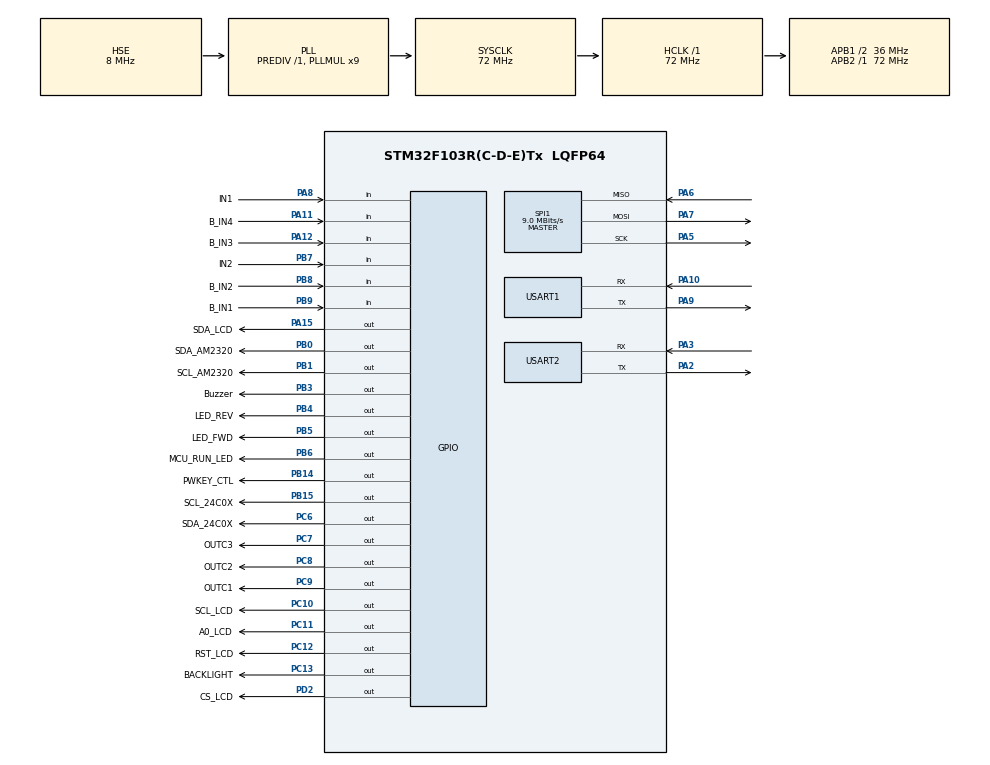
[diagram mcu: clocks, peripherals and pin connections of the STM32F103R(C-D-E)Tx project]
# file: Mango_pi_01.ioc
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Dma.Request0=USART2_TX
Dma.Request1=USART2_RX
Dma.USART2_RX.1.Direction=DMA_PERIPH_TO_MEMORY
Dma.USART2_RX.1.Instance=DMA1_Channel6
Dma.USART2_RX.1.MemDataAlignment=DMA_MDATAALIGN_BYTE
Dma.USART2_RX.1.MemInc=DMA_MINC_ENABLE
Dma.USART2_RX.1.Mode=DMA_NORMAL
Dma.USART2_RX.1.PeriphDataAlignment=DMA_PDATAALIGN_BYTE
Dma.USART2_RX.1.PeriphInc=DMA_PINC_DISABLE
Dma.USART2_RX.1.Priority=DMA_PRIORITY_VERY_HIGH
Dma.USART2_TX.0.Direction=DMA_MEMORY_TO_PERIPH
Dma.USART2_TX.0.Instance=DMA1_Channel7
Dma.USART2_TX.0.MemDataAlignment=DMA_MDATAALIGN_BYTE
Dma.USART2_TX.0.MemInc=DMA_MINC_ENABLE
Dma.USART2_TX.0.Mode=DMA_NORMAL
Dma.USART2_TX.0.PeriphDataAlignment=DMA_PDATAALIGN_BYTE
Dma.USART2_TX.0.PeriphInc=DMA_PINC_DISABLE
Dma.USART2_TX.0.Priority=DMA_PRIORITY_LOW
FREERTOS.INCLUDE_uxTaskGetStackHighWaterMark=1
FREERTOS.Tasks01=defaultTask,0,128,StartDefaultTask,Default,NULL
FREERTOS.configTOTAL_HEAP_SIZE=25600
FREERTOS.configUSE_TRACE_FACILITY=1
Mcu.Family=STM32F1
Mcu.Name=STM32F103R(C-D-E)Tx
Mcu.Package=LQFP64
NVIC.DMA1_Channel6_IRQn=true\:5\:0\:false\:false\:true\:true\:false
NVIC.DMA1_Channel7_IRQn=true\:5\:0\:false\:false\:true\:true\:false
NVIC.PriorityGroup=NVIC_PRIORITYGROUP_4
NVIC.SPI1_IRQn=true\:5\:0\:false\:false\:true\:true\:true
NVIC.TIM2_IRQn=true\:5\:0\:false\:false\:true\:true\:true
NVIC.USART1_IRQn=true\:5\:0\:false\:true\:true\:1\:true\:true
NVIC.USART2_IRQn=true\:5\:0\:false\:false\:true\:true\:true
PA10.Mode=Asynchronous
PA10.Signal=USART1_RX
PA11.GPIO_Label=B_IN4
PA11.GPIO_PuPd=GPIO_PULLUP
PA11.Signal=GPIO_Input
PA12.GPIO_Label=B_IN3
PA12.GPIO_PuPd=GPIO_PULLUP
PA12.Signal=GPIO_Input
PA13.Mode=Serial_Wire
PA13.Signal=SYS_JTMS-SWDIO
PA14.Mode=Serial_Wire
PA14.Signal=SYS_JTCK-SWCLK
PA15.GPIO_Label=SDA_LCD
PA15.GPIO_PuPd=GPIO_PULLUP
PA15.GPIO_Speed=GPIO_SPEED_FREQ_HIGH
PA15.PinState=GPIO_PIN_SET
PA15.Signal=GPIO_Output
PA2.Mode=Asynchronous
PA2.Signal=USART2_TX
PA3.Mode=Asynchronous
PA3.Signal=USART2_RX
PA5.Mode=Full_Duplex_Master
PA5.Signal=SPI1_SCK
PA6.Mode=Full_Duplex_Master
PA6.Signal=SPI1_MISO
PA7.Mode=Full_Duplex_Master
PA7.Signal=SPI1_MOSI
PA8.GPIO_Label=IN1
PA8.GPIO_PuPd=GPIO_PULLUP
PA8.Signal=GPIO_Input
PA9.Mode=Asynchronous
PA9.Signal=USART1_TX
PB0.GPIO_Label=SDA_AM2320
PB0.GPIO_PuPd=GPIO_PULLUP
PB0.GPIO_Speed=GPIO_SPEED_FREQ_HIGH
PB0.PinState=GPIO_PIN_SET
PB0.Signal=GPIO_Output
PB1.GPIO_Label=SCL_AM2320
PB1.GPIO_PuPd=GPIO_PULLUP
PB1.GPIO_Speed=GPIO_SPEED_FREQ_HIGH
PB1.PinState=GPIO_PIN_SET
PB1.Signal=GPIO_Output
PB14.GPIO_Label=PWKEY_CTL
PB14.GPIO_PuPd=GPIO_PULLUP
PB14.PinState=GPIO_PIN_RESET
PB14.Signal=GPIO_Output
PB15.GPIO_Label=SCL_24C0X
PB15.GPIO_PuPd=GPIO_PULLUP
PB15.GPIO_Speed=GPIO_SPEED_FREQ_HIGH
PB15.PinState=GPIO_PIN_SET
PB15.Signal=GPIO_Output
PB3.GPIO_Label=Buzzer
PB3.GPIO_PuPd=GPIO_PULLUP
PB3.PinState=GPIO_PIN_RESET
PB3.Signal=GPIO_Output
PB4.GPIO_Label=LED_REV
PB4.GPIO_PuPd=GPIO_PULLUP
PB4.PinState=GPIO_PIN_SET
PB4.Signal=GPIO_Output
PB5.GPIO_Label=LED_FWD
PB5.GPIO_PuPd=GPIO_PULLUP
PB5.PinState=GPIO_PIN_SET
PB5.Signal=GPIO_Output
PB6.GPIO_Label=MCU_RUN_LED
PB6.GPIO_PuPd=GPIO_PULLUP
PB6.PinState=GPIO_PIN_SET
PB6.Signal=GPIO_Output
PB7.GPIO_Label=IN2
PB7.GPIO_PuPd=GPIO_PULLUP
PB7.Signal=GPIO_Input
PB8.GPIO_Label=B_IN2
PB8.GPIO_PuPd=GPIO_PULLUP
PB8.Signal=GPIO_Input
PB9.GPIO_Label=B_IN1
PB9.GPIO_PuPd=GPIO_PULLUP
PB9.Signal=GPIO_Input
PC10.GPIO_Label=SCL_LCD
PC10.GPIO_PuPd=GPIO_PULLUP
PC10.GPIO_Speed=GPIO_SPEED_FREQ_HIGH
PC10.PinState=GPIO_PIN_SET
PC10.Signal=GPIO_Output
PC11.GPIO_Label=A0_LCD
PC11.GPIO_PuPd=GPIO_PULLUP
PC11.GPIO_Speed=GPIO_SPEED_FREQ_HIGH
PC11.PinState=GPIO_PIN_SET
PC11.Signal=GPIO_Output
PC12.GPIO_Label=RST_LCD
PC12.GPIO_PuPd=GPIO_PULLUP
PC12.GPIO_Speed=GPIO_SPEED_FREQ_HIGH
PC12.PinState=GPIO_PIN_SET
PC12.Signal=GPIO_Output
PC13-TAMPER-RTC.GPIO_Label=BACKLIGHT
PC13-TAMPER-RTC.GPIO_PuPd=GPIO_PULLUP
PC13-TAMPER-RTC.PinState=GPIO_PIN_SET
PC13-TAMPER-RTC.Signal=GPIO_Output
PC14-OSC32_IN.Mode=LSE-External-Oscillator
PC14-OSC32_IN.Signal=RCC_OSC32_IN
PC15-OSC32_OUT.Mode=LSE-External-Oscillator
PC15-OSC32_OUT.Signal=RCC_OSC32_OUT
PC6.GPIO_Label=SDA_24C0X
PC6.GPIO_PuPd=GPIO_PULLUP
PC6.GPIO_Speed=GPIO_SPEED_FREQ_HIGH
PC6.PinState=GPIO_PIN_SET
PC6.Signal=GPIO_Output
PC7.GPIO_Label=OUTC3
PC7.GPIO_PuPd=GPIO_PULLUP
PC7.PinState=GPIO_PIN_SET
PC7.Signal=GPIO_Output
PC8.GPIO_Label=OUTC2
PC8.GPIO_PuPd=GPIO_PULLUP
PC8.PinState=GPIO_PIN_SET
PC8.Signal=GPIO_Output
PC9.GPIO_Label=OUTC1
PC9.GPIO_PuPd=GPIO_PULLUP
PC9.PinState=GPIO_PIN_SET
PC9.Signal=GPIO_Output
PD0-OSC_IN.Mode=HSE-External-Oscillator
PD0-OSC_IN.Signal=RCC_OSC_IN
PD1-OSC_OUT.Mode=HSE-External-Oscillator
PD1-OSC_OUT.Signal=RCC_OSC_OUT
PD2.GPIO_Label=CS_LCD
PD2.GPIO_PuPd=GPIO_PULLUP
PD2.GPIO_Speed=GPIO_SPEED_FREQ_HIGH
PD2.PinState=GPIO_PIN_SET
PD2.Signal=GPIO_Output
ProjectManager.HeapSize=0xE00
ProjectManager.StackSize=0x400
ProjectManager.TargetToolchain=MDK-ARM V5
RCC.AHBFreq_Value=72000000
RCC.APB1CLKDivider=RCC_HCLK_DIV2
RCC.APB1Freq_Value=36000000
RCC.APB1TimFreq_Value=72000000
RCC.APB2Freq_Value=72000000
RCC.APB2TimFreq_Value=72000000
RCC.HCLKFreq_Value=72000000
RCC.PLLMUL=RCC_PLL_MUL9
RCC.PLLSourceVirtual=RCC_PLLSOURCE_HSE
RCC.RTCClockSelection=RCC_RTCCLKSOURCE_LSE
RCC.SYSCLKFreq_VALUE=72000000
RCC.SYSCLKSource=RCC_SYSCLKSOURCE_PLLCLK
RCC.USBFreq_Value=72000000
RTC.AutoPrediv=RTC_AUTO_1_SECOND
RTC.Format=RTC_FORMAT_BIN
SPI1.BaudRatePrescaler=SPI_BAUDRATEPRESCALER_8
SPI1.CLKPolarity=SPI_POLARITY_LOW
SPI1.CRCCalculation=SPI_CRCCALCULATION_DISABLE
SPI1.CalculateBaudRate=9.0 MBits/s
SPI1.Direction=SPI_DIRECTION_2LINES
SPI1.Mode=SPI_MODE_MASTER
SPI1.VirtualType=VM_MASTER
TIM2.AutoReloadPreload=TIM_AUTORELOAD_PRELOAD_ENABLE
TIM2.Period=199
TIM2.Prescaler=35999
USART1.VirtualMode=VM_ASYNC
USART2.VirtualMode=VM_ASYNC
VP_FREERTOS_VS_ENABLE.Mode=Enabled
VP_RTC_No_RTC_Output.Mode=RTC_OUT_NO
VP_RTC_VS_RTC_Activate.Mode=RTC_Enabled
VP_TIM2_VS_ClockSourceINT.Mode=Internal
VP_TIM2_VS_OPM.Mode=OPM_bit
board=custom

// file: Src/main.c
/**
  ******************************************************************************
  * @file           : main.c
  * @brief          : Main program body
  ******************************************************************************
  * This notice applies to any and all portions of this file
  * that are not between comment pairs USER CODE BEGIN and
  * USER CODE END. Other portions of this file, whether
  * inserted by the user or by software development tools
  * are owned by their respective copyright owners.
  *
  * Copyright (c) 2019 STMicroelectronics International N.V.
  * All rights reserved.
  *
  * Redistribution and use in source and binary forms, with or without
  * modification, are permitted, provided that the following conditions are met:
  *
  * 1. Redistribution of source code must retain the above copyright notice,
  *    this list of conditions and the following disclaimer.
  * 2. Redistributions in binary form must reproduce the above copyright notice,
  *    this list of conditions and the following disclaimer in the documentation
  *    and/or other materials provided with the distribution.
  * 3. Neither the name of STMicroelectronics nor the names of other
  *    contributors to this software may be used to endorse or promote products
  *    derived from this software without specific written permission.
  * 4. This software, including modifications and/or derivative works of this
  *    software, must execute solely and exclusively on microcontroller or
  *    microprocessor devices manufactured by or for STMicroelectronics.
  * 5. Redistribution and use of this software other than as permitted under
  *    this license is void and will automatically terminate your rights under
  *    this license.
  *
  * THIS SOFTWARE IS PROVIDED BY STMICROELECTRONICS AND CONTRIBUTORS "AS IS"
  * AND ANY EXPRESS, IMPLIED OR STATUTORY WARRANTIES, INCLUDING, BUT NOT
  * LIMITED TO, THE IMPLIED WARRANTIES OF MERCHANTABILITY, FITNESS FOR A
  * PARTICULAR PURPOSE AND NON-INFRINGEMENT OF THIRD PARTY INTELLECTUAL PROPERTY
  * RIGHTS ARE DISCLAIMED TO THE FULLEST EXTENT PERMITTED BY LAW. IN NO EVENT
  * SHALL STMICROELECTRONICS OR CONTRIBUTORS BE LIABLE FOR ANY DIRECT, INDIRECT,
  * INCIDENTAL, SPECIAL, EXEMPLARY, OR CONSEQUENTIAL DAMAGES (INCLUDING, BUT NOT
  * LIMITED TO, PROCUREMENT OF SUBSTITUTE GOODS OR SERVICES; LOSS OF USE, DATA,
  * OR PROFITS; OR BUSINESS INTERRUPTION) HOWEVER CAUSED AND ON ANY THEORY OF
  * LIABILITY, WHETHER IN CONTRACT, STRICT LIABILITY, OR TORT (INCLUDING
  * NEGLIGENCE OR OTHERWISE) ARISING IN ANY WAY OUT OF THE USE OF THIS SOFTWARE,
  * EVEN IF ADVISED OF THE POSSIBILITY OF SUCH DAMAGE.
  *
  ******************************************************************************
  */
#include "main.h"
#include "stm32f1xx_hal.h"
#include "cmsis_os.h"

/* USER CODE BEGIN Includes */
#include "LED.h"
#include "button.h"
#include "BUZZER.h"
#include "LCD12864.h"
#include "Strategy.h"
#include <string.h>
#include "Check_Stroking_Cycle.h"
#include "HUMI.h"
#include "24c0x.h"
#include "relay.h"

/* USER CODE END Includes */

RTC_HandleTypeDef hrtc;

SPI_HandleTypeDef hspi1;

TIM_HandleTypeDef htim2;

UART_HandleTypeDef huart1;
UART_HandleTypeDef huart2;
DMA_HandleTypeDef hdma_usart2_tx;
DMA_HandleTypeDef hdma_usart2_rx;

osThreadId defaultTaskHandle;

/* USER CODE BEGIN PV */
/* Private variables ---------------------------------------------------------*/

#ifdef __GNUC__
/* With GCC, small printf (option LD Linker->Libraries->Small printf
   set to 'Yes') calls __io_putchar() */
#define PUTCHAR_PROTOTYPE int __io_putchar(int ch)
#else
#define PUTCHAR_PROTOTYPE int fputc(int ch, FILE *f)
#endif /* __GNUC__ */
osThreadId Start_LED_TaskHandle;		//LED任务句柄
osThreadId Start_HUMI_TaskHandle;		//温度任务句柄
osThreadId Start_RTC_TaskHandle;		//实时时钟任务句柄
osThreadId Start_Delete_TaskHandle;		//删除任务句柄
osThreadId Start_Strategy_TaskHandle;
osThreadId Start_LCD12864_TaskHandle;	//12864句柄
osThreadId Start_BUTTON_TaskHandle;		//扫描按键任务句柄
Delete_Task_struct G_Delete_Task_struct;//删除任务的结构体
SemaphoreHandle_t uart2_Idle_xSemaphore;
SemaphoreHandle_t recv_gprs_cmd_xSemaphore;//二值信号量
SemaphoreHandle_t send_gprs_dat_xSemaphore;//二值信号量
SemaphoreHandle_t xSemaphore;
extern uint8_t a2RxBuffer;			//接收中断缓冲
extern uint8_t aRxBuffer;			//接收中断缓冲
#ifdef SIM800C_VERSION
osThreadId Start_SIM800C_TaskHandle;	//800c句柄
#elif ESP8266_VERSION
osThreadId Start_ESP8266_TaskHandle;	//8266句柄
#endif
//硬件版本信息结构体

/* USER CODE END PV */

void SystemClock_Config(void);
static void MX_GPIO_Init(void);
static void MX_DMA_Init(void);
static void MX_SPI1_Init(void);
static void MX_USART2_UART_Init(void);
static void MX_RTC_Init(void);
static void MX_USART1_UART_Init(void);
static void MX_TIM2_Init(void);
void StartDefaultTask(void const * argument);
static void MX_NVIC_Init(void);

/* USER CODE BEGIN PFP */
/* Private function prototypes -----------------------------------------------*/

/* USER CODE END PFP */

int main(void)
{

  /* MCU Configuration----------------------------------------------------------*/

  /* Reset of all peripherals, Initializes the Flash interface and the Systick. */
  HAL_Init();

  /* Configure the system clock */
  SystemClock_Config();

  /* Initialize all configured peripherals */
  MX_GPIO_Init();
  MX_DMA_Init();
  MX_SPI1_Init();
  MX_USART2_UART_Init();
  MX_RTC_Init();
  MX_USART1_UART_Init();
  MX_TIM2_Init();

  /* Initialize interrupts */
  MX_NVIC_Init();
  /* USER CODE BEGIN 2 */
	HAL_UART_Receive_IT(&huart1, (uint8_t *)&aRxBuffer, 1);   //再开启接收中断
//	HAL_UART_Receive_IT(&huart2, (uint8_t *)&a2RxBuffer, 1);   //再开启接收中断
	__HAL_UART_ENABLE_IT(&huart2, UART_IT_IDLE);
  /* USER CODE END 2 */

  /* USER CODE BEGIN RTOS_SEMAPHORES */
  /* add semaphores, ... */
	xSemaphore = xSemaphoreCreateBinary();
	if( xSemaphore == NULL )
	{
		printf("xSemaphore = NULL\r\n");
	}
	else
	{
	//	printf("xSemaphore = success\r\n");
	}
	uart2_Idle_xSemaphore = xSemaphoreCreateBinary(); //接收数据使用的信号量
	if( uart2_Idle_xSemaphore == NULL )
	{
		printf("uart2_Idle_xSemaphore = NULL\r\n");
	}
	else
	{
	//	printf("xSemaphore = success\r\n");
	}
	recv_gprs_cmd_xSemaphore = xSemaphoreCreateBinary();
	if(recv_gprs_cmd_xSemaphore == NULL)
	{
		printf("recv_gprs_cmd_xSemaphore = NULL\r\n");
	}else{

	}

	send_gprs_dat_xSemaphore = xSemaphoreCreateBinary();
	if(send_gprs_dat_xSemaphore == NULL)
	{
		printf("send_gprs_dat_xSemaphore = NULL\r\n");
	}else{

	}
  /* USER CODE END RTOS_SEMAPHORES */

  /* Create the thread(s) */
  /* definition and creation of defaultTask */
  osThreadDef(defaultTask, StartDefaultTask, osPriorityNormal, 0, 128);
  defaultTaskHandle = osThreadCreate(osThread(defaultTask), NULL);

  /* Start scheduler */
  osKernelStart();

  /* We should never get here as control is now taken by the scheduler */

  /* Infinite loop */
  while (1)
  {

  }

}

void SystemClock_Config(void)
{

  RCC_OscInitTypeDef RCC_OscInitStruct;
  RCC_ClkInitTypeDef RCC_ClkInitStruct;
  RCC_PeriphCLKInitTypeDef PeriphClkInit;

    /**Initializes the CPU, AHB and APB busses clocks
    */
  RCC_OscInitStruct.OscillatorType = RCC_OSCILLATORTYPE_HSE|RCC_OSCILLATORTYPE_LSE;
  RCC_OscInitStruct.HSEState = RCC_HSE_ON;
  RCC_OscInitStruct.HSEPredivValue = RCC_HSE_PREDIV_DIV1;
  RCC_OscInitStruct.LSEState = RCC_LSE_ON;
  RCC_OscInitStruct.HSIState = RCC_HSI_ON;
  RCC_OscInitStruct.PLL.PLLState = RCC_PLL_ON;
  RCC_OscInitStruct.PLL.PLLSource = RCC_PLLSOURCE_HSE;
  RCC_OscInitStruct.PLL.PLLMUL = RCC_PLL_MUL9;
  if (HAL_RCC_OscConfig(&RCC_OscInitStruct) != HAL_OK)
  {
    _Error_Handler(__FILE__, __LINE__);
  }

    /**Initializes the CPU, AHB and APB busses clocks
    */
  RCC_ClkInitStruct.ClockType = RCC_CLOCKTYPE_HCLK|RCC_CLOCKTYPE_SYSCLK
                              |RCC_CLOCKTYPE_PCLK1|RCC_CLOCKTYPE_PCLK2;
  RCC_ClkInitStruct.SYSCLKSource = RCC_SYSCLKSOURCE_PLLCLK;
  RCC_ClkInitStruct.AHBCLKDivider = RCC_SYSCLK_DIV1;
  RCC_ClkInitStruct.APB1CLKDivider = RCC_HCLK_DIV2;
  RCC_ClkInitStruct.APB2CLKDivider = RCC_HCLK_DIV1;

  if (HAL_RCC_ClockConfig(&RCC_ClkInitStruct, FLASH_LATENCY_2) != HAL_OK)
  {
    _Error_Handler(__FILE__, __LINE__);
  }

  PeriphClkInit.PeriphClockSelection = RCC_PERIPHCLK_RTC;
  PeriphClkInit.RTCClockSelection = RCC_RTCCLKSOURCE_LSE;
  if (HAL_RCCEx_PeriphCLKConfig(&PeriphClkInit) != HAL_OK)
  {
    _Error_Handler(__FILE__, __LINE__);
  }

    /**Configure the Systick interrupt time
    */
  HAL_SYSTICK_Config(HAL_RCC_GetHCLKFreq()/1000);

    /**Configure the Systick
    */
  HAL_SYSTICK_CLKSourceConfig(SYSTICK_CLKSOURCE_HCLK);

  /* SysTick_IRQn interrupt configuration */
  HAL_NVIC_SetPriority(SysTick_IRQn, 15, 0);
}

/**
  * @brief NVIC Configuration.
  * @retval None
  */
static void MX_NVIC_Init(void)
{
  /* USART1_IRQn interrupt configuration */
  HAL_NVIC_SetPriority(USART1_IRQn, 5, 0);
  HAL_NVIC_EnableIRQ(USART1_IRQn);
}

/* RTC init function */
static void MX_RTC_Init(void)
{

  RTC_TimeTypeDef sTime;
  RTC_DateTypeDef DateToUpdate;

    /**Initialize RTC Only
    */
  hrtc.Instance = RTC;
  hrtc.Init.AsynchPrediv = RTC_AUTO_1_SECOND;
  hrtc.Init.OutPut = RTC_OUTPUTSOURCE_NONE;
  if (HAL_RTC_Init(&hrtc) != HAL_OK)
  {
    _Error_Handler(__FILE__, __LINE__);
  }

    /**Initialize RTC and set the Time and Date
    */
  sTime.Hours = 0;
  sTime.Minutes = 0;
  sTime.Seconds = 0;

  if (HAL_RTC_SetTime(&hrtc, &sTime, RTC_FORMAT_BIN) != HAL_OK)
  {
    _Error_Handler(__FILE__, __LINE__);
  }

  DateToUpdate.WeekDay = RTC_WEEKDAY_MONDAY;
  DateToUpdate.Month = RTC_MONTH_JANUARY;
  DateToUpdate.Date = 1;
  DateToUpdate.Year = 0;

  if (HAL_RTC_SetDate(&hrtc, &DateToUpdate, RTC_FORMAT_BIN) != HAL_OK)
  {
    _Error_Handler(__FILE__, __LINE__);
  }

}

/* SPI1 init function */
static void MX_SPI1_Init(void)
{

  /* SPI1 parameter configuration*/
  hspi1.Instance = SPI1;
  hspi1.Init.Mode = SPI_MODE_MASTER;
  hspi1.Init.Direction = SPI_DIRECTION_2LINES;
  hspi1.Init.DataSize = SPI_DATASIZE_8BIT;
  hspi1.Init.CLKPolarity = SPI_POLARITY_LOW;
  hspi1.Init.CLKPhase = SPI_PHASE_1EDGE;
  hspi1.Init.NSS = SPI_NSS_SOFT;
  hspi1.Init.BaudRatePrescaler = SPI_BAUDRATEPRESCALER_8;
  hspi1.Init.FirstBit = SPI_FIRSTBIT_MSB;
  hspi1.Init.TIMode = SPI_TIMODE_DISABLE;
  hspi1.Init.CRCCalculation = SPI_CRCCALCULATION_DISABLE;
  hspi1.Init.CRCPolynomial = 10;
  if (HAL_SPI_Init(&hspi1) != HAL_OK)
  {
    _Error_Handler(__FILE__, __LINE__);
  }

}

/* TIM2 init function */
static void MX_TIM2_Init(void)
{

  TIM_ClockConfigTypeDef sClockSourceConfig;
  TIM_MasterConfigTypeDef sMasterConfig;

  htim2.Instance = TIM2;
  htim2.Init.Prescaler = 35999;
  htim2.Init.CounterMode = TIM_COUNTERMODE_UP;
  htim2.Init.Period = 199;
  htim2.Init.ClockDivision = TIM_CLOCKDIVISION_DIV1;
  htim2.Init.AutoReloadPreload = TIM_AUTORELOAD_PRELOAD_ENABLE;
  if (HAL_TIM_Base_Init(&htim2) != HAL_OK)
  {
    _Error_Handler(__FILE__, __LINE__);
  }

  sClockSourceConfig.ClockSource = TIM_CLOCKSOURCE_INTERNAL;
  if (HAL_TIM_ConfigClockSource(&htim2, &sClockSourceConfig) != HAL_OK)
  {
    _Error_Handler(__FILE__, __LINE__);
  }

  if (HAL_TIM_OnePulse_Init(&htim2, TIM_OPMODE_SINGLE) != HAL_OK)
  {
    _Error_Handler(__FILE__, __LINE__);
  }

  sMasterConfig.MasterOutputTrigger = TIM_TRGO_RESET;
  sMasterConfig.MasterSlaveMode = TIM_MASTERSLAVEMODE_DISABLE;
  if (HAL_TIMEx_MasterConfigSynchronization(&htim2, &sMasterConfig) != HAL_OK)
  {
    _Error_Handler(__FILE__, __LINE__);
  }

}

/* USART1 init function */
static void MX_USART1_UART_Init(void)
{

  huart1.Instance = USART1;
  huart1.Init.BaudRate = 115200;
  huart1.Init.WordLength = UART_WORDLENGTH_8B;
  huart1.Init.StopBits = UART_STOPBITS_1;
  huart1.Init.Parity = UART_PARITY_NONE;
  huart1.Init.Mode = UART_MODE_TX_RX;
  huart1.Init.HwFlowCtl = UART_HWCONTROL_NONE;
  huart1.Init.OverSampling = UART_OVERSAMPLING_16;
  if (HAL_UART_Init(&huart1) != HAL_OK)
  {
    _Error_Handler(__FILE__, __LINE__);
  }

}

/* USART2 init function */
static void MX_USART2_UART_Init(void)
{

  huart2.Instance = USART2;
  huart2.Init.BaudRate = 115200;
  huart2.Init.WordLength = UART_WORDLENGTH_8B;
  huart2.Init.StopBits = UART_STOPBITS_1;
  huart2.Init.Parity = UART_PARITY_NONE;
  huart2.Init.Mode = UART_MODE_TX_RX;
  huart2.Init.HwFlowCtl = UART_HWCONTROL_NONE;
  huart2.Init.OverSampling = UART_OVERSAMPLING_16;
  if (HAL_UART_Init(&huart2) != HAL_OK)
  {
    _Error_Handler(__FILE__, __LINE__);
  }

}

static void MX_DMA_Init(void)
{
  /* DMA controller clock enable */
  __HAL_RCC_DMA1_CLK_ENABLE();

  /* DMA interrupt init */
  /* DMA1_Channel6_IRQn interrupt configuration */
  HAL_NVIC_SetPriority(DMA1_Channel6_IRQn, 5, 0);
  HAL_NVIC_EnableIRQ(DMA1_Channel6_IRQn);
  /* DMA1_Channel7_IRQn interrupt configuration */
  HAL_NVIC_SetPriority(DMA1_Channel7_IRQn, 5, 0);
  HAL_NVIC_EnableIRQ(DMA1_Channel7_IRQn);

}

/** Configure pins as
        * Analog
        * Input
        * Output
        * EVENT_OUT
        * EXTI
*/
static void MX_GPIO_Init(void)
{

  GPIO_InitTypeDef GPIO_InitStruct;

  /* GPIO Ports Clock Enable */
  __HAL_RCC_GPIOC_CLK_ENABLE();
  __HAL_RCC_GPIOD_CLK_ENABLE();
  __HAL_RCC_GPIOA_CLK_ENABLE();
  __HAL_RCC_GPIOB_CLK_ENABLE();

  /*Configure GPIO pin Output Level */
  HAL_GPIO_WritePin(GPIOC, BACKLIGHT_Pin|SDA_24C0X_Pin|OUTC3_Pin|OUTC2_Pin
                          |OUTC1_Pin|SCL_LCD_Pin|A0_LCD_Pin|RST_LCD_Pin, GPIO_PIN_SET);

  /*Configure GPIO pin Output Level */
  HAL_GPIO_WritePin(GPIOB, SDA_AM2320_Pin|SCL_AM2320_Pin|SCL_24C0X_Pin|LED_REV_Pin
                          |LED_FWD_Pin|MCU_RUN_LED_Pin, GPIO_PIN_SET);

  /*Configure GPIO pin Output Level */
  HAL_GPIO_WritePin(GPIOB, PWKEY_CTL_Pin|Buzzer_Pin, GPIO_PIN_RESET);

  /*Configure GPIO pin Output Level */
  HAL_GPIO_WritePin(SDA_LCD_GPIO_Port, SDA_LCD_Pin, GPIO_PIN_SET);

  /*Configure GPIO pin Output Level */
  HAL_GPIO_WritePin(CS_LCD_GPIO_Port, CS_LCD_Pin, GPIO_PIN_SET);

  /*Configure GPIO pins : BACKLIGHT_Pin OUTC3_Pin OUTC2_Pin OUTC1_Pin */
  GPIO_InitStruct.Pin = BACKLIGHT_Pin|OUTC3_Pin|OUTC2_Pin|OUTC1_Pin;
  GPIO_InitStruct.Mode = GPIO_MODE_OUTPUT_PP;
  GPIO_InitStruct.Pull = GPIO_PULLUP;
  GPIO_InitStruct.Speed = GPIO_SPEED_FREQ_LOW;
  HAL_GPIO_Init(GPIOC, &GPIO_InitStruct);

  /*Configure GPIO pins : SDA_AM2320_Pin SCL_AM2320_Pin SCL_24C0X_Pin */
  GPIO_InitStruct.Pin = SDA_AM2320_Pin|SCL_AM2320_Pin|SCL_24C0X_Pin;
  GPIO_InitStruct.Mode = GPIO_MODE_OUTPUT_PP;
  GPIO_InitStruct.Pull = GPIO_PULLUP;
  GPIO_InitStruct.Speed = GPIO_SPEED_FREQ_HIGH;
  HAL_GPIO_Init(GPIOB, &GPIO_InitStruct);

  /*Configure GPIO pins : PWKEY_CTL_Pin Buzzer_Pin LED_REV_Pin LED_FWD_Pin
                           MCU_RUN_LED_Pin */
  GPIO_InitStruct.Pin = PWKEY_CTL_Pin|Buzzer_Pin|LED_REV_Pin|LED_FWD_Pin
                          |MCU_RUN_LED_Pin;
  GPIO_InitStruct.Mode = GPIO_MODE_OUTPUT_PP;
  GPIO_InitStruct.Pull = GPIO_PULLUP;
  GPIO_InitStruct.Speed = GPIO_SPEED_FREQ_LOW;
  HAL_GPIO_Init(GPIOB, &GPIO_InitStruct);

  /*Configure GPIO pins : SDA_24C0X_Pin SCL_LCD_Pin A0_LCD_Pin RST_LCD_Pin */
  GPIO_InitStruct.Pin = SDA_24C0X_Pin|SCL_LCD_Pin|A0_LCD_Pin|RST_LCD_Pin;
  GPIO_InitStruct.Mode = GPIO_MODE_OUTPUT_PP;
  GPIO_InitStruct.Pull = GPIO_PULLUP;
  GPIO_InitStruct.Speed = GPIO_SPEED_FREQ_HIGH;
  HAL_GPIO_Init(GPIOC, &GPIO_InitStruct);

  /*Configure GPIO pins : IN1_Pin B_IN4_Pin B_IN3_Pin */
  GPIO_InitStruct.Pin = IN1_Pin|B_IN4_Pin|B_IN3_Pin;
  GPIO_InitStruct.Mode = GPIO_MODE_INPUT;
  GPIO_InitStruct.Pull = GPIO_PULLUP;
  HAL_GPIO_Init(GPIOA, &GPIO_InitStruct);

  /*Configure GPIO pin : SDA_LCD_Pin */
  GPIO_InitStruct.Pin = SDA_LCD_Pin;
  GPIO_InitStruct.Mode = GPIO_MODE_OUTPUT_PP;
  GPIO_InitStruct.Pull = GPIO_PULLUP;
  GPIO_InitStruct.Speed = GPIO_SPEED_FREQ_HIGH;
  HAL_GPIO_Init(SDA_LCD_GPIO_Port, &GPIO_InitStruct);

  /*Configure GPIO pin : CS_LCD_Pin */
  GPIO_InitStruct.Pin = CS_LCD_Pin;
  GPIO_InitStruct.Mode = GPIO_MODE_OUTPUT_PP;
  GPIO_InitStruct.Pull = GPIO_PULLUP;
  GPIO_InitStruct.Speed = GPIO_SPEED_FREQ_HIGH;
  HAL_GPIO_Init(CS_LCD_GPIO_Port, &GPIO_InitStruct);

  /*Configure GPIO pins : IN2_Pin B_IN2_Pin B_IN1_Pin */
  GPIO_InitStruct.Pin = IN2_Pin|B_IN2_Pin|B_IN1_Pin;
  GPIO_InitStruct.Mode = GPIO_MODE_INPUT;
  GPIO_InitStruct.Pull = GPIO_PULLUP;
  HAL_GPIO_Init(GPIOB, &GPIO_InitStruct);

}

/* USER CODE BEGIN 4 */
PUTCHAR_PROTOTYPE
{
	uint8_t c = ch;
	taskENTER_CRITICAL();			//进入临界区
	HAL_UART_Transmit(&huart1, &c, 1, 0xff);
	taskEXIT_CRITICAL();//退出临界区
	//HAL_UART_Transmit_DMA(&huart1, &c, 1);
	return 0;
}

/*
 * 检查内部策略信息
 */
void Check_Strategy(void)
{
	uint8_t i;
	Strategy_struct pBuffer[8];
	//Init_Strategy(0);//不等于规则我需要的需要重写从0开始写
	for(i = 0;i < 8;i++)
	{
		AT24CXX_Read(i*STRATEGY_ADDR,((uint8_t*)pBuffer)+(sizeof(pBuffer[i])*i),sizeof(pBuffer[i]));
		//printf("pBuffer[%d].Strategy_Num = %d\r\n",i+1,pBuffer[i].Strategy_Num);
		if(pBuffer[i].Strategy_Num != (i+1)){
			Init_Strategy(0);//不等于规则我需要的需要重写 从0开始写
			return;
		}
	}
	for(i = 0;i < 8;i++)
	{
		AT24CXX_Read(i*STRATEGY_ADDR,((uint8_t*)G_Strategy)+(sizeof(G_Strategy[i])*i),sizeof(G_Strategy[i]));
//		printf("[%d]Hours=%d\r\n",i,G_Strategy[i].Time.Hours);
//		printf("[%d]Minutes=%d\r\n",i,G_Strategy[i].Time.Minutes);
	}
	//printf("sizeof(S_Strategy) = %d,sizeof(S_Strategy[0]) = %d\r\n",sizeof(S_Strategy),sizeof(S_Strategy[0]));
	memcpy((uint8_t*)S_Strategy,(uint8_t*)G_Strategy,sizeof(S_Strategy));
	return;
}

/*
 * 删除任务的任务
 * 这里很奇葩，空闲任务已经执行貌似没有启动，任务删除自己后来不能回收资源，所以先使用任务甲删除任务已的方式
 * 重点找人问问怎么回事
 * */
void Start_Delete_Task(void const * argument)
{
	while(1)
	{
		if(G_Delete_Task_struct.sign){
			osThreadTerminate(G_Delete_Task_struct.D_Task);
			G_Delete_Task_struct.sign = DISABLE;
		}
		osDelay(5);
	}
}

/* USER CODE END 4 */

void StartDefaultTask(void const * argument)
{

  /* USER CODE BEGIN 5 */

	Check_Strategy();				//检查策略是否正常
	Init_Humi_Comp();				//初始化温度补偿
	Check_Max_And_Now_Route();		//检查最大行程和当前行程
	Check_Delay_Inspection();		//延时检查时间
	Check_Stroking_Cycle();			//当前干簧管周期
	Check_Board_Info();				//检查板子信息

	taskENTER_CRITICAL();			//进入临界区

	osThreadDef(LCD12864_Task, Start_LCD12864_Task, osPriorityNormal, 0, 128);	//创建LCD12864模块开始
	Start_LCD12864_TaskHandle = osThreadCreate(osThread(LCD12864_Task), NULL);	//

	osThreadDef(Led_Task, Start_LED_Task, osPriorityNormal, 0, 64);				//创建Led开始任务
	Start_LED_TaskHandle = osThreadCreate(osThread(Led_Task), NULL);

	osThreadDef(Button_Task, Start_Button_Task, osPriorityNormal, 0, 64);	//创建按键开始任务
	Start_BUTTON_TaskHandle = osThreadCreate(osThread(Button_Task), NULL);

#ifdef SIM800C_VERSION
	osThreadDef(Sim800c_Task, Start_Sim800c_Task, osPriorityNormal, 0, 128);		//创建sim800c开始任务
	Start_SIM800C_TaskHandle = osThreadCreate(osThread(Sim800c_Task), NULL);
#endif
	osThreadDef(HUMI_Task, Start_HUMI_Task, osPriorityNormal, 0, 64);			//创建温度采集模块
	Start_HUMI_TaskHandle = osThreadCreate(osThread(HUMI_Task), NULL);

	osThreadDef(Relay_Task, Start_Relay_Task, osPriorityHigh, 0, 64);			//创建继电器模块
	Start_Relay_TaskHandle = osThreadCreate(osThread(Relay_Task), NULL);

	osThreadDef(Delete_Task, Start_Delete_Task, osPriorityNormal, 0, 64);		//删除任务模块  找个明白人问问
	Start_Delete_TaskHandle = osThreadCreate(osThread(Delete_Task), NULL);

	osThreadDef(Strategy_Task, Start_Strategy_Task, osPriorityNormal, 0, 128);	//策略任务模块
	Start_Strategy_TaskHandle = osThreadCreate(osThread(Strategy_Task), NULL);

	taskEXIT_CRITICAL();//退出临界区

  /* Infinite loop */
  for(;;)
  {
		osDelay(100);
  }
  /* USER CODE END 5 */
}

void _Error_Handler(char *file, int line)
{
  /* USER CODE BEGIN Error_Handler_Debug */
  /* User can add his own implementation to report the HAL error return state */
  while(1)
  {
		printf("_Error_Handler");
  }
  /* USER CODE END Error_Handler_Debug */
}

/************************ (C) COPYRIGHT STMicroelectronics *****END OF FILE****/
